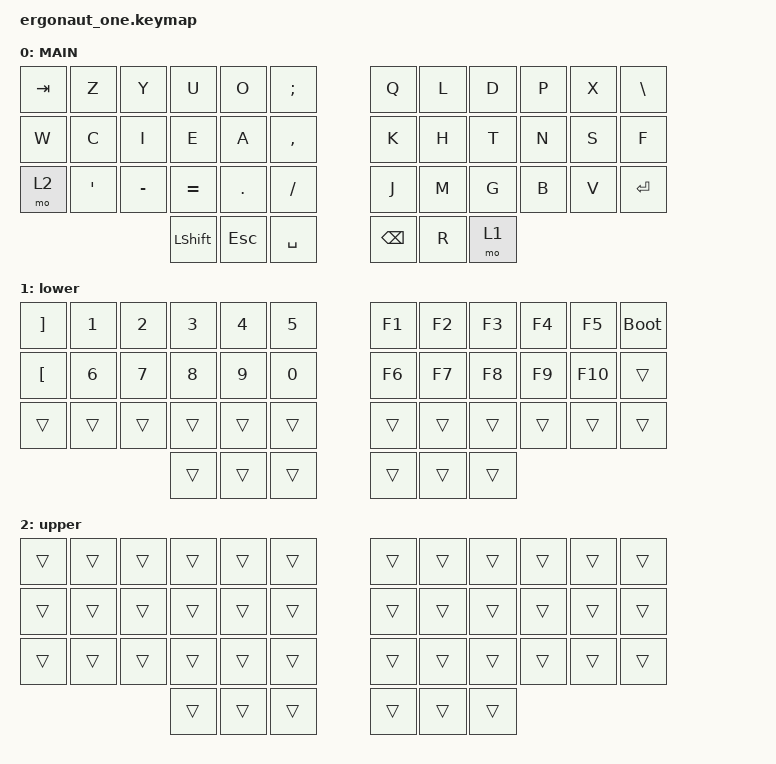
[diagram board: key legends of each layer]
#include <behaviors.dtsi>
#include <dt-bindings/zmk/keys.h>

#define DEF 0
#define LWR 1
#define RSE 2
#define ADJ 3

&lt { quick-tap-ms = <200>; };

&mt { quick-tap-ms = <200>; };

/ {
    conditional_layers {
        compatible = "zmk,conditional-layers";

        tri-layer {
            if-layers = <1 2>;
            then-layer = <3>;
        };
    };

    behaviors {
        hm_left: hm_left {
            compatible = "zmk,behavior-hold-tap";
            label = "HM-LEFT";
            bindings = <&kp>, <&kp>;

            #binding-cells = <2>;
            tapping-term-ms = <280>;
            quick-tap-ms = <175>;
            require-prior-idle-ms = <150>;
            hold-trigger-on-release;
            hold-trigger-key-positions = <6 7 8 9 10 11 18 19 20 21 22 23 30 31 32 33 34 35 39 40 41>;
            flavor = "balanced";
        };

        hm_right: hm_right {
            compatible = "zmk,behavior-hold-tap";
            label = "HM-RIGHT";
            bindings = <&kp>, <&kp>;

            #binding-cells = <2>;
            tapping-term-ms = <280>;
            quick-tap-ms = <175>;
            require-prior-idle-ms = <150>;
            hold-trigger-on-release;
            hold-trigger-key-positions = <0 1 2 3 4 5 12 13 14 15 16 17 24 25 26 27 28 29 36 37 38>;
            flavor = "balanced";
        };
    };

    keymap {
        compatible = "zmk,keymap";

        default_layer {
            display-name = "MAIN";
            bindings = <
&kp TAB  &kp Z    &kp Y      &kp U           &kp O       &kp SEMI   &kp Q     &kp L  &kp D  &kp P  &kp X  &kp BSLH
&kp W    &kp C    &kp I      &kp E           &kp A       &kp COMMA  &kp K     &kp H  &kp T  &kp N  &kp S  &kp F
&mo 2    &kp SQT  &kp MINUS  &kp EQUAL       &kp DOT     &kp FSLH   &kp J     &kp M  &kp G  &kp B  &kp V  &kp RET
                             &kp LEFT_SHIFT  &kp ESCAPE  &kp SPACE  &kp BSPC  &kp R  &mo 1
            >;
        };

        lower {
            bindings = <
&kp RIGHT_BRACKET  &kp N1  &kp N2  &kp N3  &kp N4  &kp N5  &kp F1  &kp F2  &kp F3  &kp F4  &kp F5   &bootloader
&kp LEFT_BRACKET   &kp N6  &kp N7  &kp N8  &kp N9  &kp N0  &kp F6  &kp F7  &kp F8  &kp F9  &kp F10  &trans
&trans             &trans  &trans  &trans  &trans  &trans  &trans  &trans  &trans  &trans  &trans   &trans
                                   &trans  &trans  &trans  &trans  &trans  &trans
            >;
        };

        upper {
            bindings = <
&trans  &trans  &trans  &trans  &trans  &trans  &trans  &trans  &trans  &trans  &trans  &trans
&trans  &trans  &trans  &trans  &trans  &trans  &trans  &trans  &trans  &trans  &trans  &trans
&trans  &trans  &trans  &trans  &trans  &trans  &trans  &trans  &trans  &trans  &trans  &trans
                        &trans  &trans  &trans  &trans  &trans  &trans
            >;
        };
    };
};
